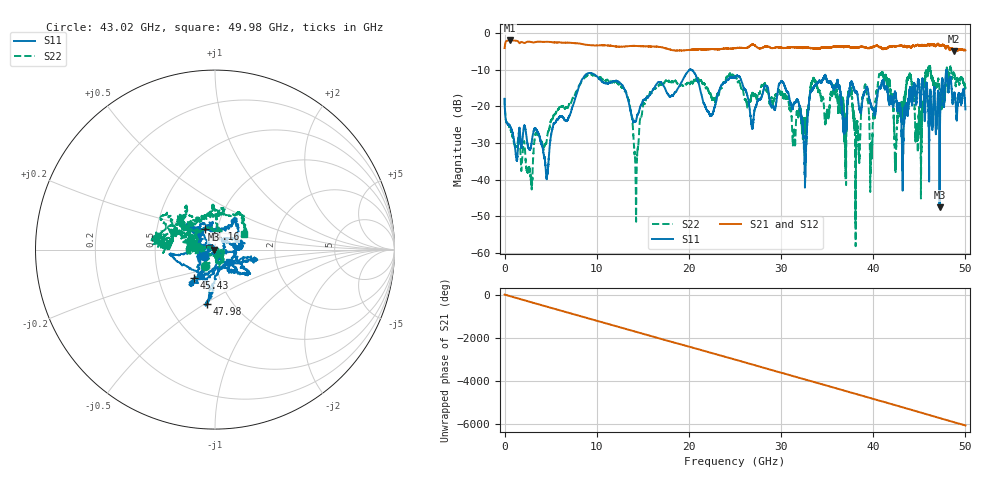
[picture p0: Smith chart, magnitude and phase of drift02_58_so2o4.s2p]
!Created with skrf (http://scikit-rf.org).
# Hz S RI R 50.0
!freq ReS11 ImS11 ReS21 ImS21 ReS12 ImS12 ReS22 ImS22
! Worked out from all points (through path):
!   10001 points, 300 kHz to 50 GHz, reference 50 ohm
!   highest |S21| = -2.00 dB at 595.3 MHz (marker M1); lowest = -4.8 dB at 48.76 GHz (marker M2)
!   group delay of S21, straight-line fit = 337 ps
!   lowest |S11| = -47.5 dB at 47.2 GHz (marker M3), VSWR 1.01, Z = 49.6 - j0.0748 ohm
!   |S11| at or under -10 dB: start of sweep to 20.07 GHz; 20.20748 GHz to 20.22129 GHz (13.81 MHz wide, 0.0683 % of centre); 20.24 GHz to end of sweep (the widest 3 of 4)
!   |S22| runs from -58.1 to -8.9 dB; largest |S21 - S12| = 0.031
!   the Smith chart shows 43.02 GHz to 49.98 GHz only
!   S11 on the Smith chart (normalised r, x): 43.02 GHz: 0.88, -0.07; 44.16 GHz: 0.87, +0.20; 45.43 GHz: 0.76, -0.25; 47.98 GHz: 0.76, -0.51; 49.98 GHz: 1.15, -0.16
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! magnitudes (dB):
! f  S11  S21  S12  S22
! 300 kHz  -17.9  -4.1  -4.0  -17.7
! 595.3 MHz  -25.4  -2.0  -2.0  -26.1
! 4.575 GHz  -39.5  -2.4  -2.4  -29.1
! 8.335 GHz  -13.0  -2.9  -2.9  -13.2
! 13.01 GHz  -15.3  -3.7  -3.6  -15.7
! 14.28 GHz  -23.8  -3.5  -3.5  -48.9
! 16.67 GHz  -13.3  -3.7  -3.7  -14.5
! 25 GHz  -12.1  -4.1  -4.1  -12.1
! 30.19 GHz  -13.3  -4.0  -4.1  -17.0
! 32.57 GHz  -38.1  -3.9  -3.9  -24.0
! 33.34 GHz  -15.7  -4.0  -4.1  -13.5
! 37.5 GHz  -14.4  -3.8  -3.9  -16.3
! 38.29 GHz  -16.7  -3.9  -3.9  -24.0
! 41.67 GHz  -18.3  -3.8  -3.9  -12.7
! 43.02 GHz  -22.9  -3.4  -3.4  -19.3
! 44.16 GHz  -17.9  -3.8  -3.8  -13.2
! 45.43 GHz  -14.2  -3.4  -3.4  -20.2
! 47.2 GHz  -47.5  -3.4  -3.4  -16.1
! 47.98 GHz  -10.2  -3.8  -3.7  -9.8
! 48.76 GHz  -17.0  -4.8  -4.8  -10.8
! 49.98 GHz  -19.8  -4.6  -4.5  -14.6
! 50 GHz  -20.8  -4.7  -4.6  -15.2
